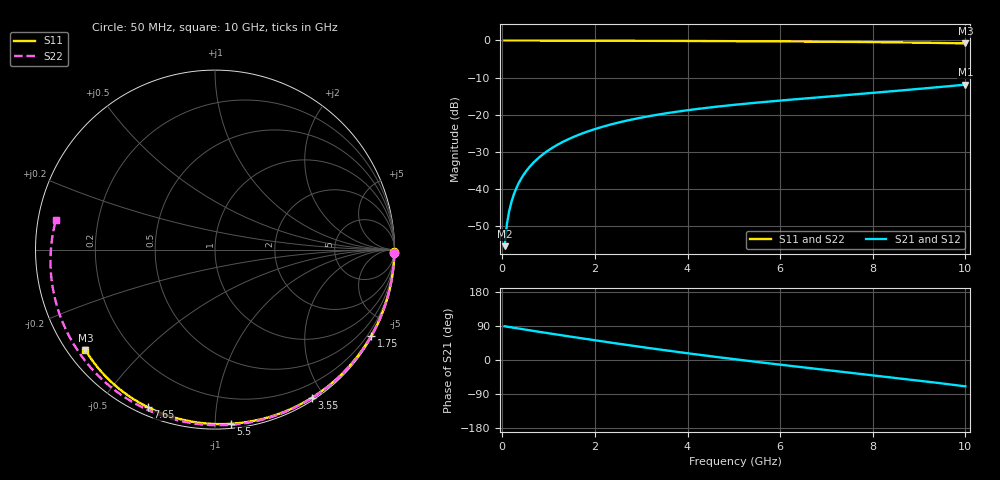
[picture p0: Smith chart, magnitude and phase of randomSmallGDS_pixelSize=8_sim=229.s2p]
! freq	dB(S11)	phase(S11)	dB(S12)	phase(S12)
!  dB(S21)	phase(S21)	dB(S22)	phase(S22)
!S-par simulation data
#  GHz  S  DB  R 50
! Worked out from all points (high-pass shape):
!   200 points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, 50 MHz to 10 GHz, reference 50 ohm
!   highest |S21| = -11.91 dB at 10 GHz (marker M1); lowest = -55.4 dB at 50 MHz (marker M2)
!   |S21| within 3 dB of the highest: 7.242 GHz to end of sweep
!   lowest |S11| = -0.8 dB at 10 GHz (marker M3), VSWR 22.04, Z = 2.53 - j17 ohm
!   |S11| at or under -10 dB: nowhere
!   |S22| runs from -0.9 to 0.0 dB; largest |S21 - S12| = 0
!   S11 on the Smith chart (normalised r, x): 50 MHz: open; 1.75 GHz: 0.05, -3.89; 3.55 GHz: 0.03, -1.84; 5.5 GHz: 0.03, -1.09; 7.65 GHz: 0.03, -0.66; 10 GHz: 0.05, -0.34
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0.05  -0.01 -0.9  -55.43 89.0  -55.43 89.0  -0.01 -1.1
0.1  -0.01 -1.7  -49.41 88.0  -49.41 88.0  -0.01 -2.2
0.15  -0.01 -2.5  -45.89 87.0  -45.89 87.0  -0.01 -3.3
0.2  -0.01 -3.3  -43.39 86.0  -43.39 86.0  -0.01 -4.4
0.25  -0.01 -4.2  -41.46 85.0  -41.46 85.0  -0.01 -5.5
0.35  -0.01 -5.8  -38.55 83.0  -38.55 83.0  -0.01 -7.7
0.5  -0.01 -8.3  -35.48 80.1  -35.48 80.1  -0.02 -10.9
0.7  -0.02 -11.7  -32.60 76.2  -32.60 76.2  -0.02 -15.3
1  -0.02 -16.6  -29.57 70.5  -29.57 70.5  -0.03 -21.7
1.35  -0.04 -22.4  -27.07 64.0  -27.07 64.0  -0.04 -29.2
1.75  -0.05 -28.8  -24.94 56.6  -24.94 56.6  -0.06 -37.6
2.6  -0.08 -42.3  -21.85 41.3  -21.85 41.3  -0.10 -55.1
3.4  -0.11 -54.7  -19.90 27.6  -19.90 27.6  -0.14 -70.9
3.55  -0.12 -56.9  -19.61 25.1  -19.61 25.1  -0.14 -73.8
4.3  -0.16 -68.0  -18.32 13.0  -18.32 13.0  -0.18 -87.9
5.05  -0.20 -78.7  -17.30 1.5  -17.30 1.5  -0.23 -101.5
5.5  -0.22 -84.9  -16.76 -5.1  -16.76 -5.1  -0.26 -109.5
6.7  -0.31 -100.9  -15.47 -22.2  -15.47 -22.2  -0.37 -130.4
7.65  -0.41 -113.1  -14.49 -35.3  -14.49 -35.3  -0.47 -146.8
8.35  -0.49 -121.9  -13.76 -45.1  -13.76 -45.1  -0.57 -159.1
9.2  -0.63 -132.4  -12.83 -57.4  -12.83 -57.4  -0.72 -174.7
10  -0.79 -142.3  -11.91 -69.6  -11.91 -69.6  -0.90 169.6
